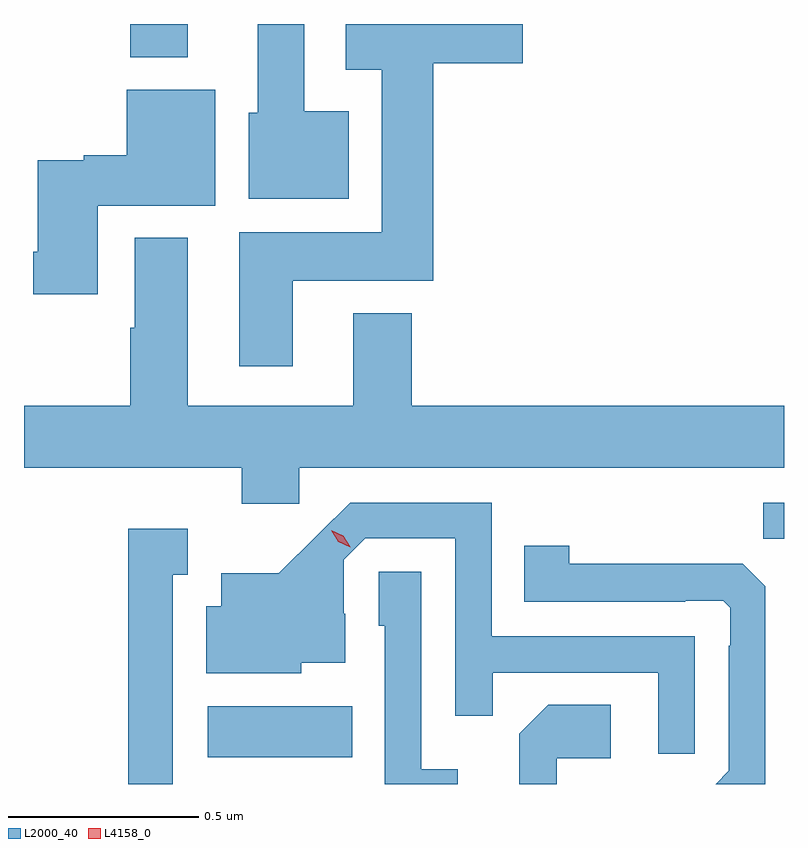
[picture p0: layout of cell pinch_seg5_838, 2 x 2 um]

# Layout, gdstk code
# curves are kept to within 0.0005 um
import gdstk
lib = gdstk.Library(unit=1e-6, precision=1e-09)
def R(c, l, rs):  # rectangles x0, y0, x1, y1
    for r in rs: c.add(gdstk.rectangle(r[:2], r[2:], *l))
def P(c, l, *ps):  # polygons
    for p in ps: c.add(gdstk.Polygon(p, *l))
L2000_40 = (2000, 40)
L4158_0 = (4158, 0)

pinch_seg5_838 = lib.new_cell('pinch_seg5_838')
R(pinch_seg5_838, L2000_40, [(773.406,891.962,773.786,892.096), (774.868,892.537,774.922,892.632), (773.201,893.804,773.353,893.892)])
P(pinch_seg5_838, L2000_40, [(773.776,893.662),(773.659,893.662),(773.659,893.892),(773.537,893.892),(773.537,893.658),(773.513,893.658),(773.513,893.432),(773.776,893.432)],
  [(773.629,893.216),(773.999,893.216),(773.999,893.789),(774.235,893.789),(774.235,893.892),(773.769,893.892),(773.769,893.771),(773.864,893.771),(773.864,893.344),(773.489,893.344),(773.489,892.992),(773.629,892.992)],
  [(773.116,893.414),(773.425,893.414),(773.425,893.719),(773.192,893.719),(773.192,893.546),(773.079,893.546),(773.079,893.533),(772.958,893.533),(772.958,893.293),(772.946,893.293),(772.946,893.181),(773.116,893.181)],
  [(773.646,892.724),(774.922,892.724),(774.922,892.888),(773.942,892.888),(773.942,893.131),(773.789,893.131),(773.789,892.888),(773.353,892.888),(773.353,893.329),(773.213,893.329),(773.213,893.093),(773.201,893.093),(773.201,892.888),(772.922,892.888),(772.922,892.724),(773.495,892.724),(773.495,892.629),(773.646,892.629)],
  [(774.687,892.281),(774.153,892.281),(774.153,892.632),(773.78,892.632),(773.593,892.447),(773.441,892.447),(773.441,892.36),(773.402,892.36),(773.402,892.184),(773.652,892.184),(773.652,892.211),(773.767,892.211),(773.767,892.34),(773.763,892.34),(773.763,892.482),(773.82,892.539),(774.057,892.539),(774.057,892.072),(774.155,892.072),(774.155,892.185),(774.591,892.185),(774.591,891.972),(774.687,891.972)],
  [(773.314,892.443),(773.353,892.443),(773.353,892.564),(773.196,892.564),(773.196,891.892),(773.314,891.892)],
  [(774.873,892.412),(774.814,892.471),(774.713,892.471),(774.713,892.472),(774.357,892.472),(774.357,892.519),(774.238,892.519),(774.238,892.371),(774.662,892.371),(774.662,892.374),(774.762,892.374),(774.78,892.356),(774.78,892.256),(774.777,892.256),(774.777,891.927),(774.742,891.892),(774.873,891.892)],
  [(774.064,891.931),(773.967,891.931),(773.967,892.451),(773.856,892.451),(773.856,892.308),(773.871,892.308),(773.871,891.892),(774.064,891.892)],
  [(774.324,891.96),(774.466,891.96),(774.466,892.1),(774.301,892.1),(774.225,892.024),(774.225,891.892),(774.324,891.892)])
P(pinch_seg5_838, L4158_0, [(773.78,892.515),(773.749,892.53),(773.731,892.56),(773.731,892.56),(773.731,892.56),(773.762,892.545),(773.78,892.516),(773.78,892.515)])

lib.write_gds('pinch_seg5_838.gds')
